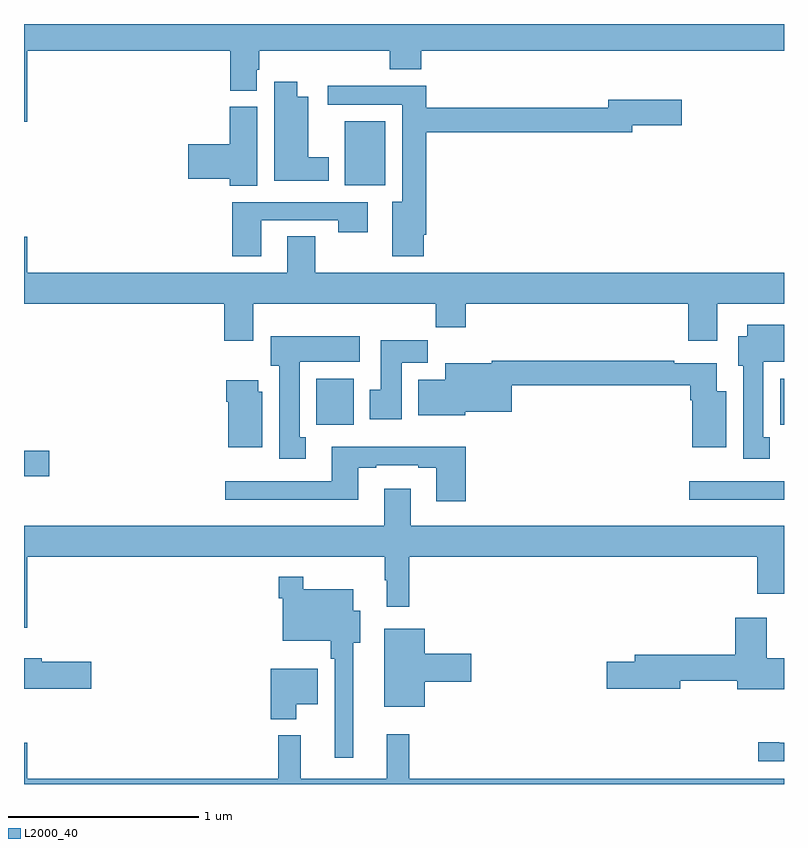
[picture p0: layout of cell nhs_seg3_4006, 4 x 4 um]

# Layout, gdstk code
import gdstk
lib = gdstk.Library(unit=1e-6, precision=1e-09)
def R(c, l, rs):  # rectangles x0, y0, x1, y1
    for r in rs: c.add(gdstk.rectangle(r[:2], r[2:], *l))
def P(c, l, *ps):  # polygons
    for p in ps: c.add(gdstk.Polygon(p, *l))
L2000_40 = (2000, 40)

nhs_seg3_4006 = lib.new_cell('nhs_seg3_4006')
R(nhs_seg3_4006, L2000_40, [(324.501,687.896,325,687.993), (321,688.019,321.133,688.154), (322.538,688.292,322.735,688.534), (324.98,688.292,325,688.534), (322.688,689.552,322.9,689.887)])
P(nhs_seg3_4006, L2000_40, [(321.016,690.26),(322.085,690.26),(322.085,690.049),(322.225,690.049),(322.225,690.159),(322.238,690.159),(322.238,690.26),(322.925,690.26),(322.925,690.161),(323.09,690.161),(323.09,690.26),(325,690.26),(325,690.4),(321,690.4),(321,689.886),(321.016,689.886)],
  [(322.603,689.698),(322.495,689.698),(322.495,690.016),(322.438,690.016),(322.438,690.097),(322.316,690.097),(322.316,689.576),(322.603,689.576)],
  [(323.104,689.29),(323.117,689.29),(323.117,689.83),(324.202,689.83),(324.202,689.867),(324.463,689.867),(324.463,690.001),(324.074,690.001),(324.074,689.959),(323.117,689.959),(323.117,690.074),(322.599,690.074),(322.599,689.976),(322.991,689.976),(322.991,689.464),(322.937,689.464),(322.937,689.178),(323.104,689.178)],
  [(322.228,689.964),(322.082,689.964),(322.082,689.768),(321.864,689.768),(321.864,689.585),(322.082,689.585),(322.082,689.548),(322.228,689.548)],
  [(322.249,689.367),(322.654,689.367),(322.654,689.304),(322.81,689.304),(322.81,689.463),(322.097,689.463),(322.097,689.178),(322.249,689.178)],
  [(322.207,688.928),(323.167,688.928),(323.167,688.804),(323.324,688.804),(323.324,688.928),(324.497,688.928),(324.497,688.734),(324.649,688.734),(324.649,688.928),(325,688.928),(325,689.092),(322.533,689.092),(322.533,689.282),(322.385,689.282),(322.385,689.092),(321.016,689.092),(321.016,689.281),(321,689.281),(321,688.928),(322.055,688.928),(322.055,688.734),(322.207,688.734)],
  [(324.925,688.226),(324.892,688.226),(324.892,688.622),(325,688.622),(325,688.816),(324.806,688.816),(324.806,688.756),(324.758,688.756),(324.758,688.602),(324.785,688.602),(324.785,688.113),(324.925,688.113)],
  [(322.483,688.226),(322.45,688.226),(322.45,688.622),(322.768,688.622),(322.768,688.756),(322.298,688.756),(322.298,688.602),(322.343,688.602),(322.343,688.113),(322.483,688.113)],
  [(322.987,688.616),(323.126,688.616),(323.126,688.735),(322.877,688.735),(322.877,688.476),(322.82,688.476),(322.82,688.32),(322.987,688.32)],
  [(324.697,688.468),(324.646,688.468),(324.646,688.614),(324.422,688.614),(324.422,688.627),(323.462,688.627),(323.462,688.615),(323.216,688.615),(323.216,688.528),(323.075,688.528),(323.075,688.34),(323.322,688.34),(323.322,688.358),(323.566,688.358),(323.566,688.498),(324.506,688.498),(324.506,688.421),(324.518,688.421),(324.518,688.172),(324.697,688.172)],
  [(322.255,688.464),(322.234,688.464),(322.234,688.525),(322.064,688.525),(322.064,688.412),(322.076,688.412),(322.076,688.172),(322.255,688.172)],
  [(323.324,688.174),(322.619,688.174),(322.619,687.993),(322.059,687.993),(322.059,687.896),(322.759,687.896),(322.759,688.065),(322.855,688.065),(322.855,688.077),(323.075,688.077),(323.075,688.065),(323.171,688.065),(323.171,687.888),(323.324,687.888)],
  [(321.016,687.596),(322.899,687.596),(322.899,687.473),(322.91,687.473),(322.91,687.333),(323.027,687.333),(323.027,687.596),(324.86,687.596),(324.86,687.402),(325,687.402),(325,687.76),(323.035,687.76),(323.035,687.955),(322.895,687.955),(322.895,687.76),(321,687.76),(321,687.222),(321.016,687.222)],
  [(322.732,687.143),(322.771,687.143),(322.771,687.313),(322.732,687.313),(322.732,687.424),(322.471,687.424),(322.471,687.49),(322.342,687.49),(322.342,687.377),(322.362,687.377),(322.362,687.155),(322.615,687.155),(322.615,687.059),(322.635,687.059),(322.635,686.538),(322.732,686.538)],
  [(325,687.063),(324.91,687.063),(324.91,687.274),(324.743,687.274),(324.743,687.08),(324.215,687.08),(324.215,687.044),(324.066,687.044),(324.066,686.902),(324.454,686.902),(324.454,686.944),(324.755,686.944),(324.755,686.9),(325,686.9)],
  [(323.11,686.939),(323.353,686.939),(323.353,687.086),(323.11,687.086),(323.11,687.217),(322.895,687.217),(322.895,686.807),(323.11,686.807)],
  [(321.355,687.044),(321.094,687.044),(321.094,687.061),(321,687.061),(321,686.902),(321.355,686.902)],
  [(322.432,686.819),(322.546,686.819),(322.546,687.007),(322.298,687.007),(322.298,686.741),(322.432,686.741)],
  [(325,686.428),(323.027,686.428),(323.027,686.662),(322.91,686.662),(322.91,686.428),(322.457,686.428),(322.457,686.656),(322.339,686.656),(322.339,686.428),(321.016,686.428),(321.016,686.617),(321,686.617),(321,686.4),(325,686.4)],
  [(325,686.616),(324.976,686.616),(324.976,686.621),(324.864,686.621),(324.864,686.52),(325,686.52)])

lib.write_gds('nhs_seg3_4006.gds')
